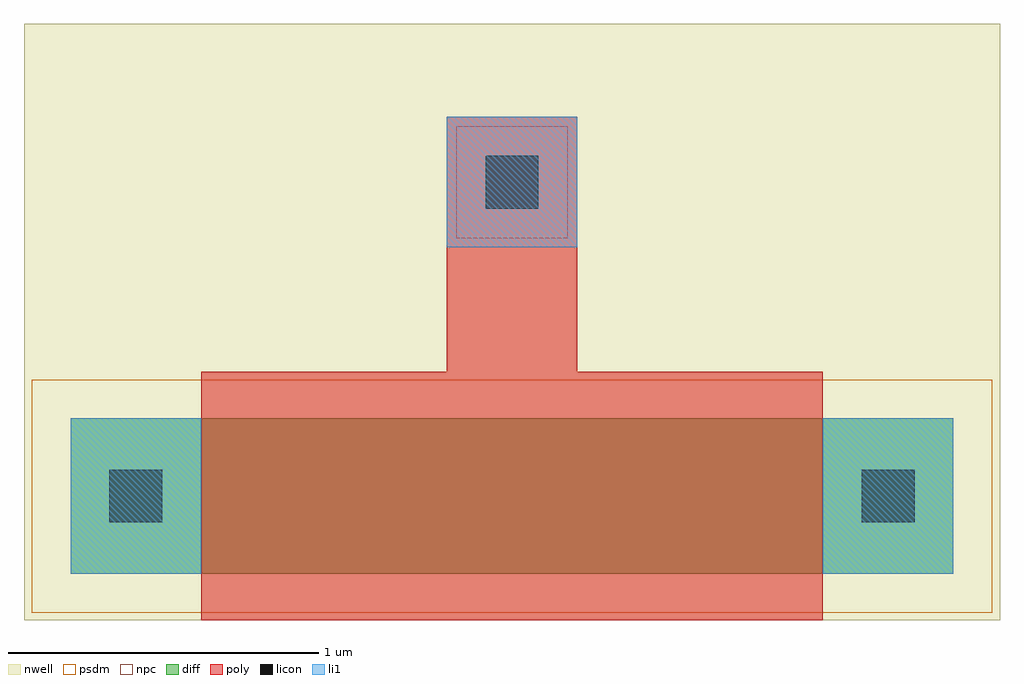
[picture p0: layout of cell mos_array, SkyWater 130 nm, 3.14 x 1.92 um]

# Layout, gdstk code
import gdstk
lib = gdstk.Library(unit=1e-6, precision=1e-09)
def R(c, l, rs):  # rectangles x0, y0, x1, y1
    for r in rs: c.add(gdstk.rectangle(r[:2], r[2:], *l))
nwell = (64, 20)
diff = (65, 20)
poly = (66, 20)
licon = (66, 44)
li1 = (67, 20)
psdm = (94, 20)
npc = (95, 20)

mos_array = lib.new_cell('mos_array')
R(mos_array, nwell, [(-0.15,-0.15,2.99,1.77)])
R(mos_array, diff, [(0,0,2.84,0.5)])
R(mos_array, poly, [(0.42,-0.15,2.42,0.5), (0.42,0.5,2.42,0.65), (0.42,0.5,2.42,0.65), (1.21,0.65,1.63,1.47)])
R(mos_array, licon, [(0.125,0.165,0.295,0.335), (2.545,0.165,2.715,0.335), (1.335,1.175,1.505,1.345)])
R(mos_array, li1, [(0,0,0.42,0.5), (2.42,0,2.84,0.5), (1.21,1.05,1.63,1.47)])
R(mos_array, psdm, [(-0.125,-0.125,2.965,0.625)])
R(mos_array, npc, [(1.24,1.08,1.6,1.44)])

lib.write_gds('mos_array.gds')
